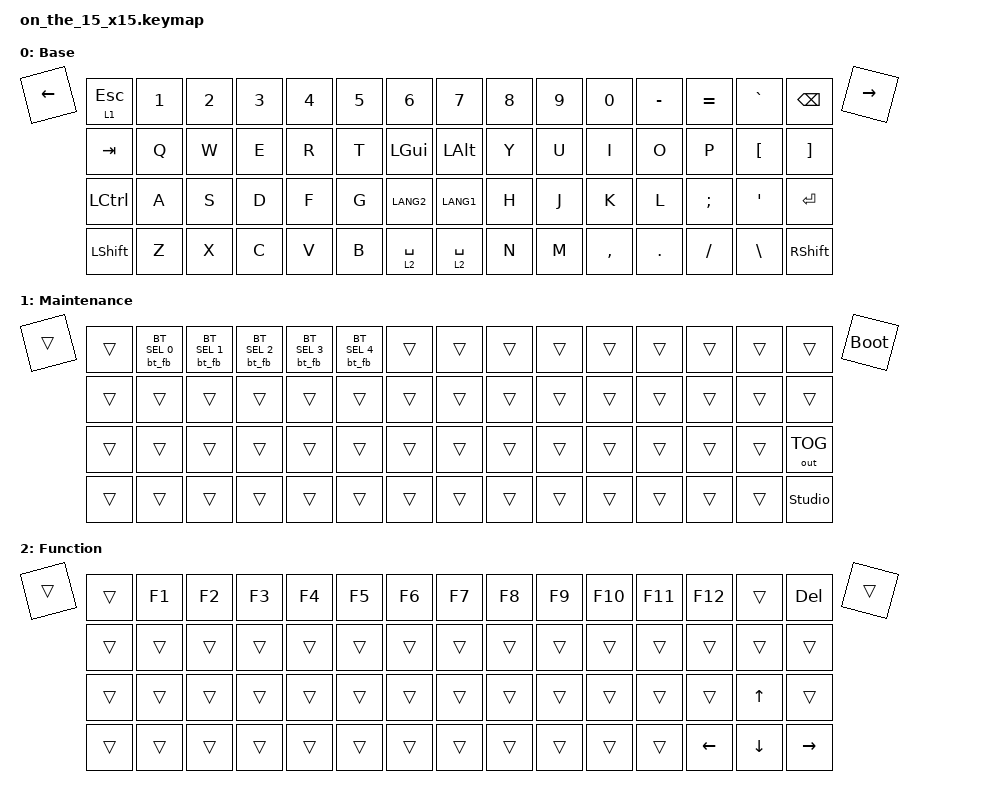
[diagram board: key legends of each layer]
/* Generic Studio-enabled stock keymap for the one-piece x15. */

#include <behaviors.dtsi>
#include <dt-bindings/zmk/bt.h>
#include <dt-bindings/zmk/keys.h>
#include <dt-bindings/zmk/outputs.h>

/ {
    behaviors {
        bt_fb: bluetooth_feedback {
            compatible = "onthe15,behavior-bt-feedback";
            #binding-cells = <2>;
            display-name = "Bluetooth Feedback";
        };
    };

    keymap {
        compatible = "zmk,keymap";

        default_layer {
            display-name = "Base";
            bindings = <
&lt 1 ESC &kp N1 &kp N2 &kp N3 &kp N4 &kp N5 &kp N6 &kp N7 &kp N8 &kp N9 &kp N0 &kp MINUS &kp EQUAL &kp GRAVE &kp BSPC
&kp TAB   &kp Q  &kp W  &kp E  &kp R  &kp T  &kp LGUI &kp LALT &kp Y &kp U &kp I &kp O &kp P &kp LBKT &kp RBKT
&kp LCTRL &kp A  &kp S  &kp D  &kp F  &kp G  &kp LANG2 &kp LANG1 &kp H &kp J &kp K &kp L &kp SEMI &kp SQT &kp ENTER
&kp LSHFT &kp Z  &kp X  &kp C  &kp V  &kp B  &lt 2 SPACE &lt 2 SPACE &kp N &kp M &kp COMMA &kp DOT &kp FSLH &kp BSLH &kp RSHFT
&kp RIGHT &kp LEFT
            >;
        };

        maintenance_layer: maintenance_layer {
            display-name = "Maintenance";
            bindings = <
&trans &bt_fb BT_SEL 0 &bt_fb BT_SEL 1 &bt_fb BT_SEL 2 &bt_fb BT_SEL 3 &bt_fb BT_SEL 4 &trans &trans &trans &trans &trans &trans &trans &trans &trans
&trans &trans &trans &trans &trans &trans &trans &trans &trans &trans &trans &trans &trans &trans &trans
&trans &trans &trans &trans &trans &trans &trans &trans &trans &trans &trans &trans &trans &trans &out OUT_TOG
&trans &trans &trans &trans &trans &trans &trans &trans &trans &trans &trans &trans &trans &trans &studio_unlock
&bootloader &trans
            >;
        };

        function_layer {
            display-name = "Function";
            bindings = <
&trans &kp F1 &kp F2 &kp F3 &kp F4 &kp F5 &kp F6 &kp F7 &kp F8 &kp F9 &kp F10 &kp F11 &kp F12 &trans &kp DEL
&trans &trans &trans &trans &trans &trans &trans &trans &trans &trans &trans &trans &trans &trans &trans
&trans &trans &trans &trans &trans &trans &trans &trans &trans &trans &trans &trans &trans &kp UP &trans
&trans &trans &trans &trans &trans &trans &trans &trans &trans &trans &trans &trans &kp LEFT &kp DOWN &kp RIGHT
&trans &trans
            >;
        };
    };
};
